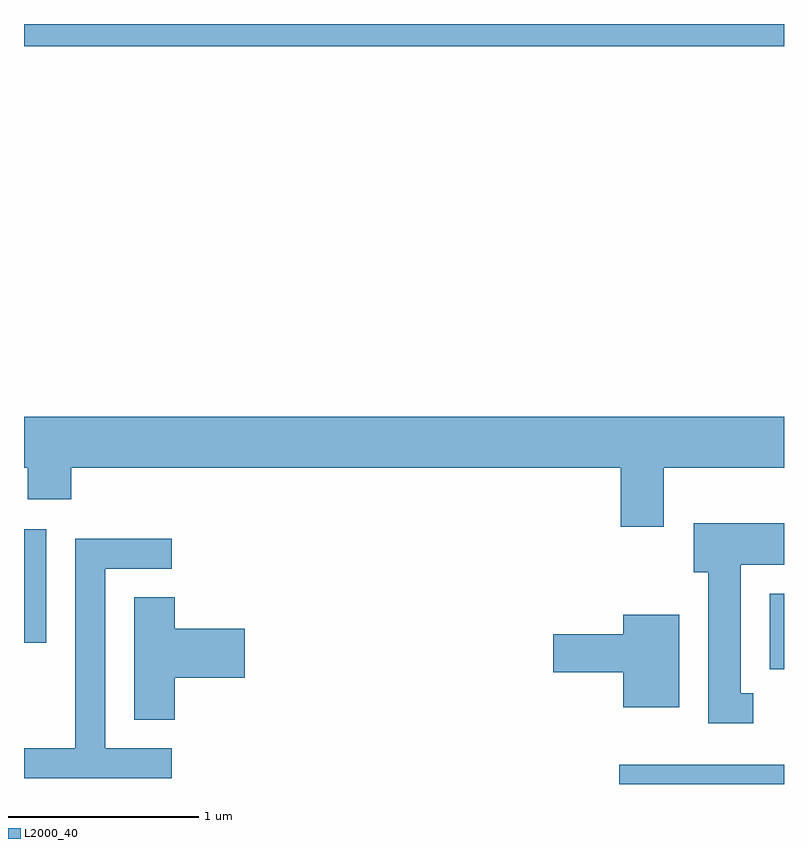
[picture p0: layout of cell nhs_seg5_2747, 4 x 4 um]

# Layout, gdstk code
import gdstk
lib = gdstk.Library(unit=1e-6, precision=1e-09)
def R(c, l, rs):  # rectangles x0, y0, x1, y1
    for r in rs: c.add(gdstk.rectangle(r[:2], r[2:], *l))
def P(c, l, *ps):  # polygons
    for p in ps: c.add(gdstk.Polygon(p, *l))
L2000_40 = (2000, 40)

nhs_seg5_2747 = lib.new_cell('nhs_seg5_2747')
R(nhs_seg5_2747, L2000_40, [(270.743,1404.072,271.611,1404.174), (271.536,1404.676,271.611,1405.074), (267.611,1404.816,267.729,1405.414), (267.611,1407.956,271.611,1408.072)])
P(nhs_seg5_2747, L2000_40, [(270.979,1405.736),(271.611,1405.736),(271.611,1406.004),(267.611,1406.004),(267.611,1405.736),(267.631,1405.736),(267.631,1405.571),(267.859,1405.571),(267.859,1405.736),(270.751,1405.736),(270.751,1405.426),(270.979,1405.426)],
  [(271.448,1404.549),(271.384,1404.549),(271.384,1405.226),(271.611,1405.226),(271.611,1405.444),(271.136,1405.444),(271.136,1405.186),(271.211,1405.186),(271.211,1404.391),(271.448,1404.391)],
  [(268.388,1404.259),(268.039,1404.259),(268.039,1405.206),(268.388,1405.206),(268.388,1405.364),(267.881,1405.364),(267.881,1404.259),(267.611,1404.259),(267.611,1404.101),(268.388,1404.101)],
  [(268.404,1404.631),(268.774,1404.631),(268.774,1404.889),(268.404,1404.889),(268.404,1405.054),(268.191,1405.054),(268.191,1404.411),(268.404,1404.411)],
  [(271.059,1404.964),(270.766,1404.964),(270.766,1404.859),(270.396,1404.859),(270.396,1404.661),(270.766,1404.661),(270.766,1404.476),(271.059,1404.476)])

lib.write_gds('nhs_seg5_2747.gds')
